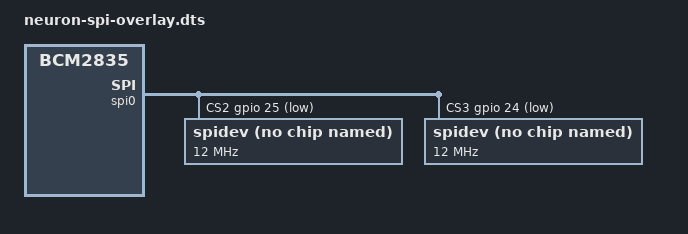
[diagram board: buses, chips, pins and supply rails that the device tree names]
/dts-v1/;
/plugin/;

/ {
	compatible = "brcm,bcm2835";

    fragment@0 {
        target = <&spi0>;
        __overlay__ {
            status = "okay";
        };
    };

    /* the cs pin of the neuron-controller */
    fragment@1 {
        target = <&gpio>;
        __overlay__ {
            spi0_cs_pins: spi0_cs_pins {
				brcm,pins = <8 7 25 24>;
				brcm,function = <1>;
            };
        };
    };

	fragment@2 {
		target = <&spi0>;

        __overlay__ {
			#address-cells = < 0x01 >;
			#size-cells = < 0x00 >;
			pinctrl-names = "default";
			pinctrl-0 = <&spi0_pins &spi0_cs_pins>;
			cs-gpios = <&gpio 8 1>, <&gpio 7 1>, <&gpio 25 1>, <&gpio 24 1>;
			status = "okay";

			spidev@2 {
				compatible = "spidev";
				reg = <2>;
				#address-cells = <1>;
				#size-cells = <0>;
				spi-max-frequency = <12000000>;
			};

			spidev@3 {
				compatible = "spidev";
				reg = <3>;
				#address-cells = <1>;
				#size-cells = <0>;
				spi-max-frequency = <12000000>;
			};
		};
	};
};
